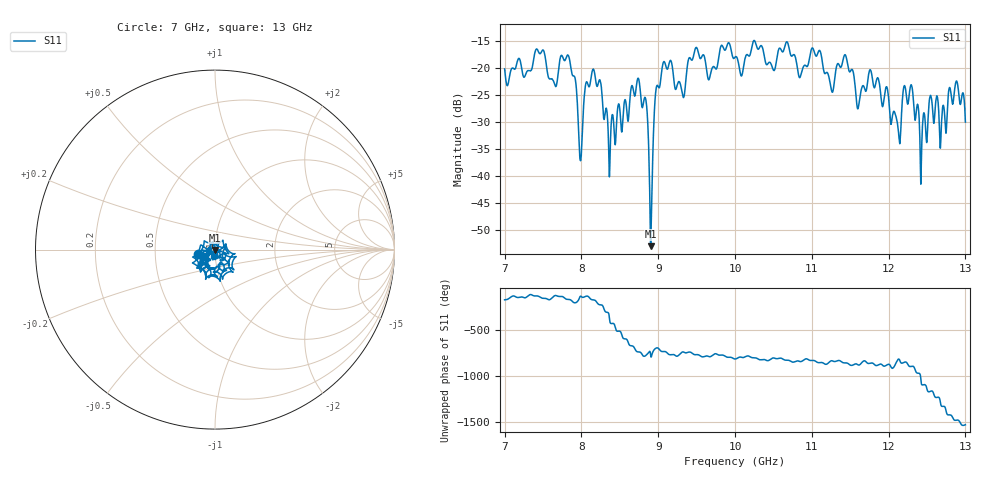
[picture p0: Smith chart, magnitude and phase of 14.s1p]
[Version] 2.0
! Rohde & Schwarz Vector Network Analyzer
! Rohde-Schwarz,ZNL20-2Port,1323001220200009,1.71.1.10-23.02.1.238
! Trace info:
! Nominal Param -> Actual Exported Buffer
! S11 -> S22
! Created: GMT+3 2024-09-24 16:39:13
# Hz S DB R 50
[Number of Ports] 1
! freq[Hz]  S11[mag dB]  S11[ang]
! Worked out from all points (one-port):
!   6001 points, 7 GHz to 13 GHz, reference 50 ohm
!   lowest |S11| = -52.9 dB at 8.902 GHz (marker M1), VSWR 1.00, Z = 50.1 - j0.19 ohm
!   |S11| at or under -10 dB: start of sweep to end of sweep
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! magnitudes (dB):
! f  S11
! 7 GHz  -20.2
! 7.493 GHz  -16.8
! 7.659 GHz  -23.4
! 7.75 GHz  -17.8
! 7.912 GHz  -21.7
! 7.987 GHz  -37.1
! 8.055 GHz  -23.1
! 8.15 GHz  -20.3
! 8.363 GHz  -39.9
! 8.5 GHz  -27.7
! 8.745 GHz  -22.0
! 8.843 GHz  -26.3
! 8.902 GHz  -52.9
! 8.984 GHz  -23.3
! 9.25 GHz  -23.1
! 9.492 GHz  -16.3
! 10 GHz  -18.0
! 10.75 GHz  -17.7
! 11.5 GHz  -20.7
! 11.6 GHz  -27.6
! 11.76 GHz  -20.3
! 11.97 GHz  -23.6
! 12.13 GHz  -32.8
! 12.25 GHz  -26.7
! 12.42 GHz  -39.4
! 12.55 GHz  -25.1
! 12.88 GHz  -22.4
! 13 GHz  -30.0
